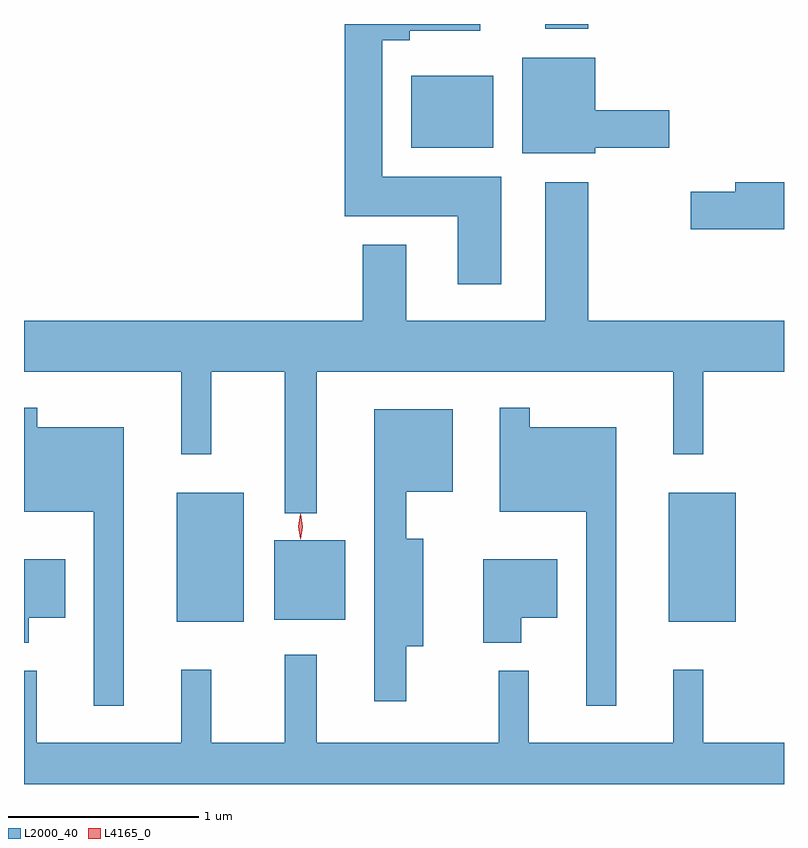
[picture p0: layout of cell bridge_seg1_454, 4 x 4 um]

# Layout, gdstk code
import gdstk
lib = gdstk.Library(unit=1e-6, precision=1e-09)
def R(c, l, rs):  # rectangles x0, y0, x1, y1
    for r in rs: c.add(gdstk.rectangle(r[:2], r[2:], *l))
def P(c, l, *ps):  # polygons
    for p in ps: c.add(gdstk.Polygon(p, *l))
L2000_40 = (2000, 40)
L4165_0 = (4165, 0)

bridge_seg1_454 = lib.new_cell('bridge_seg1_454')
R(bridge_seg1_454, L2000_40, [(243.271,856.081,243.624,856.759), (245.861,856.081,246.214,856.759), (243.786,856.091,244.159,856.509), (244.506,858.576,244.939,858.954), (245.211,859.201,245.439,859.227)])
P(bridge_seg1_454, L2000_40, [(244.979,858.424),(244.354,858.424),(244.354,859.141),(244.499,859.141),(244.499,859.191),(244.869,859.191),(244.869,859.227),(244.156,859.227),(244.156,858.216),(244.751,858.216),(244.751,857.856),(244.979,857.856)],
  [(245.474,858.576),(245.864,858.576),(245.864,858.774),(245.474,858.774),(245.474,859.049),(245.091,859.049),(245.091,858.546),(245.474,858.546)],
  [(244.009,857.396),(245.886,857.396),(245.886,856.963),(246.044,856.963),(246.044,857.396),(246.468,857.396),(246.468,857.664),(245.439,857.664),(245.439,858.394),(245.211,858.394),(245.211,857.664),(244.479,857.664),(244.479,858.064),(244.251,858.064),(244.251,857.664),(242.468,857.664),(242.468,857.396),(243.296,857.396),(243.296,856.963),(243.454,856.963),(243.454,857.396),(243.841,857.396),(243.841,856.653),(244.009,856.653)],
  [(246.468,858.394),(246.211,858.394),(246.211,858.344),(245.976,858.344),(245.976,858.146),(246.468,858.146)],
  [(245.584,857.104),(245.129,857.104),(245.129,857.208),(244.971,857.208),(244.971,856.661),(245.426,856.661),(245.426,855.638),(245.584,855.638)],
  [(242.994,857.104),(242.539,857.104),(242.539,857.208),(242.468,857.208),(242.468,856.661),(242.836,856.661),(242.836,855.638),(242.994,855.638)],
  [(244.479,855.951),(244.569,855.951),(244.569,856.519),(244.479,856.519),(244.479,856.766),(244.724,856.766),(244.724,857.199),(244.311,857.199),(244.311,855.663),(244.479,855.663)],
  [(245.084,856.101),(245.274,856.101),(245.274,856.409),(244.886,856.409),(244.886,855.971),(245.084,855.971)],
  [(242.494,856.101),(242.684,856.101),(242.684,856.409),(242.468,856.409),(242.468,855.971),(242.494,855.971)],
  [(242.468,855.823),(242.468,855.227),(246.468,855.227),(246.468,855.444),(246.044,855.444),(246.044,855.828),(245.886,855.828),(245.886,855.444),(245.124,855.444),(245.124,855.823),(244.966,855.823),(244.966,855.444),(244.009,855.444),(244.009,855.908),(243.841,855.908),(243.841,855.444),(243.454,855.444),(243.454,855.828),(243.296,855.828),(243.296,855.444),(242.534,855.444),(242.534,855.823)])
P(bridge_seg1_454, L4165_0, [(243.924,856.514),(243.924,856.514),(243.914,856.582),(243.924,856.65),(243.925,856.65),(243.925,856.65),(243.934,856.582),(243.924,856.514)],
  [(243.921,856.518),(243.921,856.518),(243.912,856.582),(243.921,856.647),(243.921,856.647),(243.922,856.647),(243.931,856.582),(243.922,856.518)])

lib.write_gds('bridge_seg1_454.gds')
